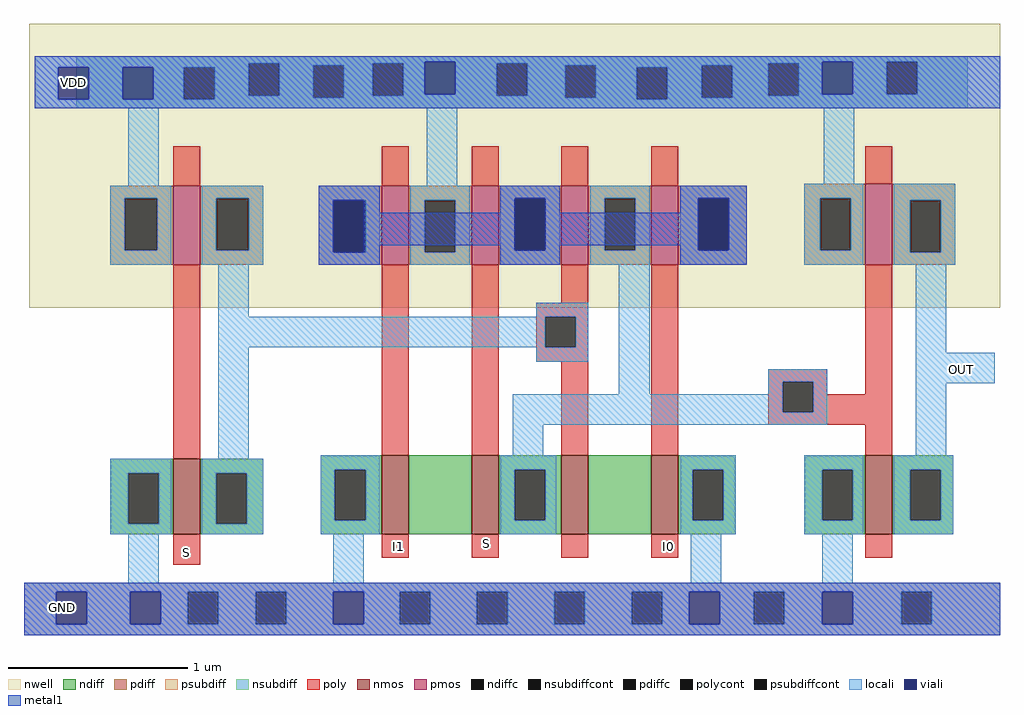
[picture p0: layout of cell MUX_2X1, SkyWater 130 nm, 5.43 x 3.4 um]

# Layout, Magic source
magic
tech sky130A
<< nwell >>
rect -98 -15 442 143
<< nmos >>
rect -18 -141 -3 -99
rect 98 -141 113 -97
rect 148 -141 163 -97
rect 198 -141 213 -97
rect 248 -141 263 -97
rect 367 -141 382 -97
<< pmos >>
rect -18 9 -3 53
rect 98 9 113 53
rect 148 9 163 53
rect 198 9 213 53
rect 248 9 263 53
rect 367 9 382 54
<< ndiff >>
rect -53 -107 -18 -99
rect -53 -135 -43 -107
rect -26 -135 -18 -107
rect -53 -141 -18 -135
rect -3 -107 32 -99
rect -3 -135 6 -107
rect 23 -135 32 -107
rect -3 -141 32 -135
rect 64 -105 98 -97
rect 64 -133 72 -105
rect 89 -133 98 -105
rect 64 -141 98 -133
rect 113 -141 148 -97
rect 163 -105 198 -97
rect 163 -133 172 -105
rect 189 -133 198 -105
rect 163 -141 198 -133
rect 213 -141 248 -97
rect 263 -105 295 -97
rect 263 -133 271 -105
rect 288 -133 295 -105
rect 263 -141 295 -133
rect 333 -105 367 -97
rect 333 -133 343 -105
rect 360 -133 367 -105
rect 333 -141 367 -133
rect 382 -105 416 -97
rect 382 -133 392 -105
rect 409 -133 416 -105
rect 382 -141 416 -133
<< pdiff >>
rect -53 46 -18 53
rect -53 17 -45 46
rect -27 17 -18 46
rect -53 9 -18 17
rect -3 46 32 53
rect -3 17 6 46
rect 24 17 32 46
rect -3 9 32 17
rect 63 45 98 53
rect 63 16 71 45
rect 89 16 98 45
rect 63 9 98 16
rect 113 45 148 53
rect 113 16 122 45
rect 139 16 148 45
rect 113 9 148 16
rect 163 46 198 53
rect 163 17 172 46
rect 189 17 198 46
rect 163 9 198 17
rect 213 46 248 53
rect 213 17 222 46
rect 239 17 248 46
rect 213 9 248 17
rect 263 46 301 53
rect 263 17 274 46
rect 291 17 301 46
rect 263 9 301 17
rect 333 46 367 54
rect 333 17 342 46
rect 359 17 367 46
rect 333 9 367 17
rect 382 45 417 54
rect 382 16 392 45
rect 409 16 417 45
rect 382 9 417 16
<< ndiffc >>
rect -43 -135 -26 -107
rect 6 -135 23 -107
rect 72 -133 89 -105
rect 172 -133 189 -105
rect 271 -133 288 -105
rect 343 -133 360 -105
rect 392 -133 409 -105
<< pdiffc >>
rect -45 17 -27 46
rect 6 17 24 46
rect 71 16 89 45
rect 122 16 139 45
rect 172 17 189 46
rect 222 17 239 46
rect 274 17 291 46
rect 342 17 359 46
rect 392 16 409 45
<< psubdiff >>
rect -101 -173 442 -168
rect -101 -191 -10 -173
rect 7 -191 28 -173
rect 45 -191 108 -173
rect 125 -191 151 -173
rect 168 -191 194 -173
rect 211 -191 237 -173
rect 254 -191 305 -173
rect 322 -191 387 -173
rect 404 -191 442 -173
rect -101 -197 442 -191
<< nsubdiff >>
rect -72 122 424 125
rect -72 121 379 122
rect -72 119 24 121
rect -72 101 -12 119
rect 5 103 24 119
rect 41 120 93 121
rect 41 103 60 120
rect 5 102 60 103
rect 77 103 93 120
rect 110 103 162 121
rect 179 120 313 121
rect 179 103 200 120
rect 77 102 200 103
rect 217 119 276 120
rect 217 102 240 119
rect 5 101 240 102
rect 257 102 276 119
rect 293 103 313 120
rect 330 104 379 121
rect 396 104 424 122
rect 330 103 424 104
rect 293 102 424 103
rect 257 101 424 102
rect -72 96 424 101
<< psubdiffcont >>
rect -10 -191 7 -173
rect 28 -191 45 -173
rect 108 -191 125 -173
rect 151 -191 168 -173
rect 194 -191 211 -173
rect 237 -191 254 -173
rect 305 -191 322 -173
rect 387 -191 404 -173
<< nsubdiffcont >>
rect -12 101 5 119
rect 24 103 41 121
rect 60 102 77 120
rect 93 103 110 121
rect 162 103 179 121
rect 200 102 217 120
rect 240 101 257 119
rect 276 102 293 120
rect 313 103 330 121
rect 379 104 396 122
<< poly >>
rect -18 53 -3 75
rect 98 53 113 75
rect 148 53 163 75
rect 198 53 213 75
rect 248 53 263 75
rect 367 54 382 75
rect -18 -99 -3 9
rect 98 -97 113 9
rect 148 -97 163 9
rect 198 -12 213 9
rect 184 -20 213 -12
rect 184 -37 189 -20
rect 206 -37 213 -20
rect 184 -45 213 -37
rect 198 -97 213 -45
rect 248 -97 263 9
rect 313 -56 346 -49
rect 313 -73 321 -56
rect 338 -63 346 -56
rect 367 -63 382 9
rect 338 -73 382 -63
rect 313 -80 382 -73
rect 367 -97 382 -80
rect -18 -158 -3 -141
rect 98 -154 113 -141
rect 148 -154 163 -141
rect 198 -154 213 -141
rect 248 -154 263 -141
rect 367 -154 382 -141
<< polycont >>
rect 189 -37 206 -20
rect 321 -73 338 -56
<< locali >>
rect -95 122 442 125
rect -95 121 122 122
rect -95 119 24 121
rect -95 101 -82 119
rect -65 101 -46 119
rect -29 101 -12 119
rect 5 103 24 119
rect 41 120 93 121
rect 41 103 60 120
rect 5 102 60 103
rect 77 103 93 120
rect 110 104 122 121
rect 139 121 343 122
rect 139 104 162 121
rect 110 103 162 104
rect 179 120 313 121
rect 179 103 200 120
rect 77 102 200 103
rect 217 119 276 120
rect 217 102 240 119
rect 5 101 240 102
rect 257 102 276 119
rect 293 103 313 120
rect 330 104 343 121
rect 360 104 379 122
rect 396 104 442 122
rect 330 103 442 104
rect 293 102 442 103
rect 257 101 442 102
rect -95 96 442 101
rect -43 53 -26 96
rect 123 53 140 96
rect 344 54 361 96
rect -53 46 -19 53
rect -53 17 -45 46
rect -27 17 -19 46
rect -53 9 -19 17
rect -2 46 32 53
rect -2 17 6 46
rect 24 17 32 46
rect -2 9 32 17
rect 63 45 97 53
rect 63 16 71 45
rect 89 16 97 45
rect 63 9 97 16
rect 114 45 147 53
rect 114 16 122 45
rect 139 16 147 45
rect 114 9 147 16
rect 164 46 197 53
rect 164 17 172 46
rect 189 17 197 46
rect 164 9 197 17
rect 214 46 247 53
rect 214 17 222 46
rect 239 17 247 46
rect 214 9 247 17
rect 264 46 301 53
rect 264 17 274 46
rect 291 17 301 46
rect 264 9 301 17
rect 333 46 366 54
rect 333 17 342 46
rect 359 17 366 46
rect 333 9 366 17
rect 383 45 417 54
rect 383 16 392 45
rect 409 16 417 45
rect 383 9 417 16
rect 7 -20 24 9
rect 184 -20 213 -12
rect 7 -37 189 -20
rect 206 -37 213 -20
rect 7 -99 24 -37
rect 184 -45 213 -37
rect 230 -63 247 9
rect 395 -40 412 9
rect 313 -56 346 -49
rect 313 -63 321 -56
rect 171 -73 321 -63
rect 338 -73 346 -56
rect 171 -80 346 -73
rect 395 -57 439 -40
rect 171 -97 188 -80
rect 395 -97 412 -57
rect -53 -107 -19 -99
rect -53 -135 -43 -107
rect -26 -135 -19 -107
rect -53 -141 -19 -135
rect -2 -107 32 -99
rect -2 -135 6 -107
rect 23 -135 32 -107
rect -2 -141 32 -135
rect 64 -105 97 -97
rect 64 -133 72 -105
rect 89 -133 97 -105
rect 64 -141 97 -133
rect 164 -105 195 -97
rect 164 -133 172 -105
rect 189 -133 195 -105
rect 164 -141 195 -133
rect 264 -105 295 -97
rect 264 -133 271 -105
rect 288 -133 295 -105
rect 264 -141 295 -133
rect 333 -105 366 -97
rect 333 -133 343 -105
rect 360 -133 366 -105
rect 333 -141 366 -133
rect 383 -105 416 -97
rect 383 -133 392 -105
rect 409 -133 416 -105
rect 383 -141 416 -133
rect -43 -168 -26 -141
rect 71 -168 88 -141
rect 270 -168 287 -141
rect 343 -168 360 -141
rect -101 -173 442 -168
rect -101 -191 -83 -173
rect -66 -191 -42 -173
rect -25 -191 -10 -173
rect 7 -191 28 -173
rect 45 -191 71 -173
rect 88 -191 108 -173
rect 125 -191 151 -173
rect 168 -191 194 -173
rect 211 -191 237 -173
rect 254 -191 269 -173
rect 286 -191 305 -173
rect 322 -191 343 -173
rect 360 -191 387 -173
rect 404 -191 442 -173
rect -101 -197 442 -191
<< viali >>
rect -82 101 -65 119
rect -46 101 -29 119
rect 122 104 139 122
rect 343 104 360 122
rect 71 16 88 45
rect 172 17 189 46
rect 274 17 291 46
rect -83 -191 -66 -173
rect -42 -191 -25 -173
rect 71 -191 88 -173
rect 269 -191 286 -173
rect 343 -191 360 -173
<< metal1 >>
rect -95 122 442 125
rect -95 119 122 122
rect -95 101 -82 119
rect -65 101 -46 119
rect -29 104 122 119
rect 139 104 343 122
rect 360 104 442 122
rect -29 101 442 104
rect -95 96 442 101
rect 63 45 97 53
rect 63 16 71 45
rect 88 38 97 45
rect 164 46 197 53
rect 164 38 172 46
rect 88 20 172 38
rect 88 16 97 20
rect 63 9 97 16
rect 164 17 172 20
rect 189 38 197 46
rect 264 46 301 53
rect 264 38 274 46
rect 189 20 274 38
rect 189 17 197 20
rect 164 9 197 17
rect 264 17 274 20
rect 291 17 301 46
rect 264 9 301 17
rect -101 -173 442 -168
rect -101 -191 -83 -173
rect -66 -191 -42 -173
rect -25 -191 71 -173
rect 88 -191 269 -173
rect 286 -191 343 -173
rect 360 -191 442 -173
rect -101 -197 442 -191
<< labels >>
flabel metal1 s -87 102 -60 119 0 FreeSans 80 0 0 0 VDD
port 0 nsew
flabel metal1 s -93 -190 -66 -173 0 FreeSans 80 0 0 0 GND
port 1 nsew
flabel poly s 247 -156 268 -140 0 FreeSans 80 0 0 0 I0
port 2 nsew
flabel poly s 97 -156 118 -140 0 FreeSans 80 0 0 0 I1
port 3 nsew
flabel poly s 146 -154 167 -138 0 FreeSans 80 0 0 0 S
port 4 nsew
flabel poly s -21 -159 0 -143 0 FreeSans 80 0 0 0 S
flabel locali s 410 -57 431 -41 0 FreeSans 80 0 0 0 OUT
port 5 nsew
<< end >>
